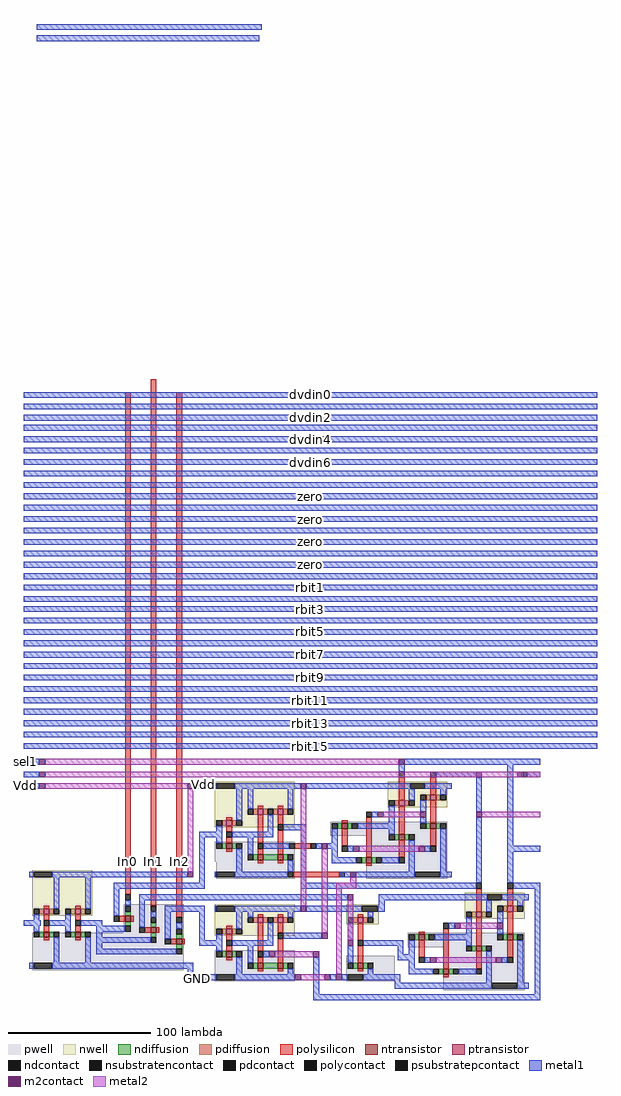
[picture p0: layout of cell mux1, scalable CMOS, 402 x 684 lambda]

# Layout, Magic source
magic
tech scmos
<< polysilicon >>
rect -56 88 -52 420
rect -38 80 -34 429
rect -20 79 -16 420
<< metal1 >>
rect -118 674 40 678
rect -118 666 38 670
rect -127 416 275 420
rect -127 408 275 412
rect -127 400 275 404
rect -127 393 275 397
rect -127 385 275 389
rect -127 377 275 381
rect -127 369 275 373
rect -127 361 275 365
rect -127 353 275 357
rect -127 345 275 349
rect -127 337 275 341
rect -127 329 275 333
rect -127 321 275 325
rect -127 313 275 317
rect -127 305 275 309
rect -127 297 275 301
rect -127 289 275 293
rect -127 281 275 285
rect -127 273 275 277
rect -127 266 275 270
rect -127 258 275 262
rect -127 250 275 254
rect -127 242 275 246
rect -127 234 275 238
rect -127 226 275 230
rect -127 218 275 222
rect -127 210 275 214
rect -127 202 275 206
rect -127 194 275 198
rect -127 186 275 190
rect -127 178 275 182
rect -127 170 275 174
rect -127 159 -116 163
rect -127 150 -116 154
rect -127 142 -116 146
rect -8 142 7 146
rect -4 76 0 112
rect -14 72 0 76
rect -14 64 0 68
rect -14 56 0 60
rect -127 46 -115 50
rect -4 32 0 56
rect -12 12 -8 20
rect -12 8 7 12
<< metal2 >>
rect -112 159 136 163
rect -112 150 222 154
rect 226 150 235 154
rect -112 142 -12 146
rect -12 84 -8 142
<< m2contact >>
rect -116 159 -112 163
rect 136 159 140 163
rect -116 150 -112 154
rect 222 150 226 154
rect -116 142 -112 146
rect -12 142 -8 146
rect -12 80 -8 84
use 31MUX  31MUX_0
transform 1 0 -61 0 1 58
box -58 -43 53 30
use MUXsel  MUXsel_0
transform 1 0 157 0 1 204
box -157 -210 78 -41
<< labels >>
rlabel metal1 -1 145 -1 145 5 Vdd
rlabel metal1 -5 9 -5 9 1 GND
rlabel polysilicon -54 91 -54 91 5 In0
rlabel polysilicon -36 91 -36 91 5 In1
rlabel polysilicon -18 91 -18 91 5 In2
rlabel metal1 -126 144 -126 144 3 Vdd
rlabel metal1 -126 152 -126 152 3 sel0
rlabel metal1 -126 161 -126 161 3 sel1
rlabel metal1 -127 416 275 420 5 dvdin0
rlabel metal1 -127 408 275 412 1 dvdin1
rlabel metal1 -127 400 275 404 1 dvdin2
rlabel metal1 -127 393 275 397 1 dvdin3
rlabel metal1 -127 385 275 389 1 dvdin4
rlabel metal1 -127 377 275 381 1 dvdin5
rlabel metal1 -127 369 275 373 1 dvdin6
rlabel metal1 -127 361 275 365 1 dvdin7
rlabel metal1 -127 345 275 349 1 zero
rlabel metal1 -127 353 275 357 1 zero
rlabel metal1 -127 337 275 341 1 zero
rlabel metal1 -127 329 275 333 1 zero
rlabel metal1 -127 321 275 325 1 zero
rlabel metal1 -127 313 275 317 1 zero
rlabel metal1 -127 305 275 309 1 zero
rlabel metal1 -127 297 275 301 1 zero
rlabel metal1 -127 281 275 285 1 rbit1
rlabel metal1 -127 289 275 293 1 rbit0
rlabel metal1 -127 273 275 277 1 rbit2
rlabel metal1 -127 266 275 270 1 rbit3
rlabel metal1 -127 258 275 262 1 rbit4
rlabel metal1 -127 250 275 254 1 rbit5
rlabel metal1 -127 234 275 238 1 rbit7
rlabel metal1 -127 242 275 246 1 rbit6
rlabel metal1 -127 226 275 230 1 rbit8
rlabel metal1 -127 218 275 222 1 rbit9
rlabel metal1 -127 210 275 214 1 rbit10
rlabel metal1 -127 202 275 206 1 rbit11
rlabel metal1 -127 194 275 198 1 rbit12
rlabel metal1 -127 186 275 190 1 rbit13
rlabel metal1 -127 178 275 182 1 rbit14
rlabel metal1 -127 170 275 174 1 rbit15
<< end >>

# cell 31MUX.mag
magic
tech scmos
<< pwell >>
rect 4 -17 46 3
rect -60 -43 46 -17
<< nwell >>
rect -60 -5 -18 27
<< polysilicon >>
rect 5 10 9 30
rect 23 2 27 30
rect -52 0 -48 2
rect -30 0 -26 2
rect -52 -8 -48 -4
rect -52 -16 -48 -12
rect -30 -8 -26 -4
rect 1 -9 5 -5
rect 9 -9 11 -5
rect 41 -6 45 30
rect -30 -16 -26 -12
rect 19 -17 23 -13
rect 27 -17 29 -13
rect -52 -22 -48 -20
rect -30 -22 -26 -20
rect 37 -25 41 -21
rect 45 -25 47 -21
<< ndiffusion >>
rect 5 -5 9 -2
rect 5 -12 9 -9
rect 23 -13 27 -10
rect -55 -20 -52 -16
rect -48 -20 -45 -16
rect -33 -20 -30 -16
rect -26 -20 -23 -16
rect 23 -20 27 -17
rect 41 -21 45 -18
rect 41 -28 45 -25
<< pdiffusion >>
rect -55 -4 -52 0
rect -48 -4 -45 0
rect -33 -4 -30 0
rect -26 -4 -23 0
<< metal1 >>
rect -62 22 -59 26
rect -46 22 49 26
rect -45 0 -41 22
rect -23 0 -19 22
rect -3 14 53 18
rect -59 -8 -55 -4
rect -37 -8 -33 -4
rect -3 -5 1 14
rect 5 2 9 6
rect 15 6 53 10
rect -63 -12 -55 -8
rect -48 -12 -33 -8
rect -26 -12 -11 -8
rect -59 -16 -55 -12
rect -37 -16 -33 -12
rect -15 -16 5 -12
rect 15 -13 19 6
rect 23 -6 27 -2
rect 33 -2 53 2
rect -45 -38 -41 -20
rect -23 -38 -19 -20
rect -15 -20 -11 -16
rect -15 -24 23 -20
rect 33 -21 37 -2
rect 41 -14 45 -10
rect -15 -28 -11 -24
rect -15 -32 41 -28
rect -62 -42 -59 -38
rect -46 -42 51 -38
<< ntransistor >>
rect 5 -9 9 -5
rect -52 -20 -48 -16
rect -30 -20 -26 -16
rect 23 -17 27 -13
rect 41 -25 45 -21
<< ptransistor >>
rect -52 -4 -48 0
rect -30 -4 -26 0
<< polycontact >>
rect 5 6 9 10
rect 23 -2 27 2
rect -52 -12 -48 -8
rect -30 -12 -26 -8
rect -3 -9 1 -5
rect 41 -10 45 -6
rect 15 -17 19 -13
rect 33 -25 37 -21
<< ndcontact >>
rect 5 -2 9 2
rect 5 -16 9 -12
rect 23 -10 27 -6
rect -59 -20 -55 -16
rect -45 -20 -41 -16
rect -37 -20 -33 -16
rect -23 -20 -19 -16
rect 23 -24 27 -20
rect 41 -18 45 -14
rect 41 -32 45 -28
<< pdcontact >>
rect -59 -4 -55 0
rect -45 -4 -41 0
rect -37 -4 -33 0
rect -23 -4 -19 0
<< psubstratepcontact >>
rect -59 -42 -46 -38
<< nsubstratencontact >>
rect -59 22 -46 26
<< labels >>
rlabel metal1 -21 25 -21 25 5 Vdd
rlabel metal1 -62 -10 -62 -10 3 Out
rlabel metal1 -21 -41 -21 -41 1 GND
rlabel metal1 52 16 52 16 7 Sel0
rlabel metal1 52 8 52 8 7 Sel1
rlabel metal1 52 0 52 0 7 Sel2
rlabel polysilicon 7 29 7 29 5 In0
rlabel polysilicon 25 29 25 29 5 In1
rlabel polysilicon 43 29 43 29 5 In2
<< end >>

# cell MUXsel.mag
magic
tech scmos
<< pwell >>
rect -150 -113 -94 -99
rect -149 -125 -94 -113
rect -150 -197 -94 -175
rect -58 -197 -24 -179
<< nwell >>
rect -150 -89 -94 -57
rect -150 -165 -94 -143
rect -58 -157 -35 -143
<< polysilicon >>
rect -120 -76 -116 -74
rect -106 -76 -102 -74
rect -142 -84 -138 -82
rect -142 -92 -138 -88
rect -142 -100 -138 -96
rect -120 -100 -116 -80
rect -142 -106 -138 -104
rect -120 -108 -116 -104
rect -106 -87 -102 -80
rect -106 -108 -102 -91
rect -94 -104 -83 -100
rect -120 -114 -116 -112
rect -106 -114 -102 -112
rect -95 -124 -63 -120
rect -120 -152 -116 -150
rect -106 -152 -102 -150
rect -50 -152 -46 -150
rect -142 -160 -138 -158
rect -142 -168 -138 -164
rect -142 -176 -138 -172
rect -120 -176 -116 -156
rect -142 -182 -138 -180
rect -120 -184 -116 -180
rect -106 -163 -102 -156
rect -106 -184 -102 -167
rect -50 -168 -46 -156
rect -50 -184 -46 -172
rect -120 -190 -116 -188
rect -106 -190 -102 -188
rect -50 -190 -46 -188
<< ndiffusion >>
rect -145 -104 -142 -100
rect -138 -104 -135 -100
rect -123 -112 -120 -108
rect -116 -112 -106 -108
rect -102 -112 -99 -108
rect -145 -180 -142 -176
rect -138 -180 -135 -176
rect -123 -188 -120 -184
rect -116 -188 -106 -184
rect -102 -188 -99 -184
rect -53 -188 -50 -184
rect -46 -188 -43 -184
<< pdiffusion >>
rect -123 -80 -120 -76
rect -116 -80 -113 -76
rect -109 -80 -106 -76
rect -102 -80 -99 -76
rect -145 -88 -142 -84
rect -138 -88 -135 -84
rect -123 -156 -120 -152
rect -116 -156 -113 -152
rect -109 -156 -106 -152
rect -102 -156 -99 -152
rect -53 -156 -50 -152
rect -46 -156 -43 -152
rect -145 -164 -142 -160
rect -138 -164 -135 -160
<< metal1 >>
rect -21 -45 78 -41
rect -21 -50 -17 -45
rect 5 -54 33 -50
rect -150 -62 -149 -58
rect -136 -62 -90 -58
rect -86 -62 -63 -58
rect -135 -84 -131 -62
rect -127 -76 -123 -62
rect -99 -76 -95 -62
rect 33 -78 37 -54
rect -149 -92 -145 -88
rect -113 -92 -109 -80
rect -102 -91 -86 -87
rect -157 -96 -145 -92
rect -138 -96 -109 -92
rect -149 -100 -145 -96
rect -135 -120 -131 -104
rect -127 -108 -123 -96
rect -116 -104 -98 -100
rect -99 -120 -95 -112
rect -150 -124 -149 -120
rect -136 -124 -99 -120
rect -90 -128 -86 -91
rect -79 -104 -75 -100
rect 33 -128 37 -82
rect -90 -132 33 -128
rect 55 -102 59 -45
rect 66 -54 78 -50
rect 55 -106 78 -102
rect 55 -128 59 -106
rect 59 -132 78 -128
rect -157 -140 -57 -136
rect -35 -140 -9 -136
rect -35 -144 -31 -140
rect -150 -148 -149 -144
rect -136 -148 -90 -144
rect -86 -148 -47 -144
rect -36 -148 -31 -144
rect -135 -160 -131 -148
rect -127 -152 -123 -148
rect -99 -152 -95 -148
rect -43 -152 -39 -148
rect -149 -168 -145 -164
rect -113 -168 -109 -156
rect -102 -167 -75 -163
rect -157 -172 -145 -168
rect -138 -172 -109 -168
rect -57 -168 -53 -156
rect -46 -172 -18 -168
rect -149 -176 -145 -172
rect -135 -192 -131 -180
rect -127 -184 -123 -172
rect -116 -180 -112 -176
rect -99 -192 -95 -188
rect -150 -196 -149 -192
rect -136 -196 -94 -192
rect -81 -206 -77 -180
rect -57 -184 -53 -172
rect -22 -182 -18 -172
rect -43 -192 -39 -188
rect -69 -196 -65 -192
rect -61 -196 -57 -192
rect -46 -196 -20 -192
rect -24 -198 -20 -196
rect -24 -202 -9 -198
rect 74 -206 78 -132
rect -81 -210 78 -206
<< metal2 >>
rect 37 -54 62 -50
rect -90 -144 -86 -62
rect 37 -82 78 -78
rect -75 -163 -71 -104
rect -55 -128 -51 -124
rect -65 -132 -51 -128
rect -108 -180 -81 -176
rect -65 -192 -61 -132
rect -57 -168 -53 -140
rect -90 -196 -73 -192
<< ntransistor >>
rect -142 -104 -138 -100
rect -120 -112 -116 -108
rect -106 -112 -102 -108
rect -142 -180 -138 -176
rect -120 -188 -116 -184
rect -106 -188 -102 -184
rect -50 -188 -46 -184
<< ptransistor >>
rect -120 -80 -116 -76
rect -106 -80 -102 -76
rect -142 -88 -138 -84
rect -120 -156 -116 -152
rect -106 -156 -102 -152
rect -50 -156 -46 -152
rect -142 -164 -138 -160
<< polycontact >>
rect -21 -54 -17 -50
rect 1 -54 5 -50
rect -142 -96 -138 -92
rect -120 -104 -116 -100
rect -106 -91 -102 -87
rect -98 -104 -94 -100
rect -83 -104 -79 -100
rect -99 -124 -95 -120
rect -63 -124 -59 -120
rect 33 -132 37 -128
rect 55 -132 59 -128
rect -142 -172 -138 -168
rect -120 -180 -116 -176
rect -106 -167 -102 -163
rect -50 -172 -46 -168
<< ndcontact >>
rect -149 -104 -145 -100
rect -135 -104 -131 -100
rect -127 -112 -123 -108
rect -99 -112 -95 -108
rect -149 -180 -145 -176
rect -135 -180 -131 -176
rect -127 -188 -123 -184
rect -99 -188 -95 -184
rect -57 -188 -53 -184
rect -43 -188 -39 -184
<< pdcontact >>
rect -127 -80 -123 -76
rect -113 -80 -109 -76
rect -99 -80 -95 -76
rect -149 -88 -145 -84
rect -135 -88 -131 -84
rect -127 -156 -123 -152
rect -113 -156 -109 -152
rect -99 -156 -95 -152
rect -57 -156 -53 -152
rect -43 -156 -39 -152
rect -149 -164 -145 -160
rect -135 -164 -131 -160
<< m2contact >>
rect 33 -54 37 -50
rect -90 -62 -86 -58
rect 33 -82 37 -78
rect -75 -104 -71 -100
rect -55 -124 -51 -120
rect 62 -54 66 -50
rect -57 -140 -53 -136
rect -90 -148 -86 -144
rect -75 -167 -71 -163
rect -57 -172 -53 -168
rect -112 -180 -108 -176
rect -81 -180 -77 -176
rect -94 -196 -90 -192
rect -73 -196 -69 -192
rect -65 -196 -61 -192
<< psubstratepcontact >>
rect -149 -124 -136 -120
rect -149 -196 -136 -192
rect -57 -196 -46 -192
<< nsubstratencontact >>
rect -149 -62 -136 -58
rect -149 -148 -136 -144
rect -47 -148 -36 -144
use XOR  XOR_0
transform -1 0 -4 0 1 -78
box -20 -47 68 24
use XOR  XOR_1
transform -1 0 50 0 1 -156
box -20 -47 68 24
<< labels >>
rlabel metal1 -156 -138 -156 -138 3 Out00
rlabel metal1 -82 -59 -82 -59 5 Vdd
rlabel metal1 -83 -145 -83 -145 5 Vdd
rlabel metal1 -156 -94 -156 -94 3 Out10
rlabel metal1 -156 -170 -156 -170 3 Out01
rlabel metal1 -65 -195 -65 -195 1 GND
rlabel metal2 77 -80 77 -80 7 Sel0
rlabel metal1 77 -104 77 -104 7 Sel1
rlabel metal1 78 -54 78 -50 7 sel0
rlabel metal1 78 -45 78 -41 6 sel1
<< end >>

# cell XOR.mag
magic
tech scmos
<< pwell >>
rect -17 -17 65 -7
rect -17 -47 40 -17
<< nwell >>
rect -17 3 25 21
<< polysilicon >>
rect -9 12 -5 24
rect 13 8 17 24
rect -9 -8 -5 8
rect -9 -24 -5 -12
rect 13 -16 17 4
rect 13 -32 17 -20
rect 36 -32 40 -4
rect 53 -8 57 -6
rect 53 -24 57 -12
rect 36 -38 40 -36
<< ndiffusion >>
rect -12 -12 -9 -8
rect -5 -12 -2 -8
rect 10 -20 13 -16
rect 17 -20 20 -16
rect 50 -12 53 -8
rect 57 -12 60 -8
rect 33 -36 36 -32
rect 40 -36 43 -32
<< pdiffusion >>
rect -12 8 -9 12
rect -5 8 -2 12
rect 10 4 13 8
rect 17 4 20 8
<< metal1 >>
rect -20 16 -1 20
rect 9 16 59 20
rect -16 12 -12 16
rect -2 0 2 8
rect 6 8 10 16
rect -2 -8 2 -4
rect 20 -8 24 4
rect 32 -4 36 0
rect 20 -12 46 -8
rect -16 -42 -12 -12
rect 20 -16 24 -12
rect -5 -28 -1 -24
rect 6 -42 10 -20
rect 60 -22 64 -12
rect 49 -28 53 -24
rect 60 -26 68 -22
rect 60 -32 64 -26
rect 17 -36 29 -32
rect 47 -36 64 -32
rect -20 -46 -12 -42
rect 6 -46 59 -42
<< metal2 >>
rect 2 -4 28 0
rect 3 -28 45 -24
<< ntransistor >>
rect -9 -12 -5 -8
rect 13 -20 17 -16
rect 53 -12 57 -8
rect 36 -36 40 -32
<< ptransistor >>
rect -9 8 -5 12
rect 13 4 17 8
<< polycontact >>
rect 36 -4 40 0
rect -9 -28 -5 -24
rect 53 -28 57 -24
rect 13 -36 17 -32
<< ndcontact >>
rect -16 -12 -12 -8
rect -2 -12 2 -8
rect 6 -20 10 -16
rect 20 -20 24 -16
rect 46 -12 50 -8
rect 60 -12 64 -8
rect 29 -36 33 -32
rect 43 -36 47 -32
<< pdcontact >>
rect -16 8 -12 12
rect -2 8 2 12
rect 6 4 10 8
rect 20 4 24 8
<< m2contact >>
rect -2 -4 2 0
rect 28 -4 32 0
rect -1 -28 3 -24
rect 45 -28 49 -24
<< psubstratepcontact >>
rect -12 -46 6 -42
<< nsubstratencontact >>
rect -1 16 9 20
<< labels >>
rlabel metal1 23 -45 23 -45 1 GND
rlabel metal1 23 19 23 19 5 Vdd
rlabel polysilicon -7 23 -7 23 5 In1
rlabel polysilicon 15 23 15 23 5 In2
rlabel metal1 67 -24 67 -24 7 Out
<< end >>
